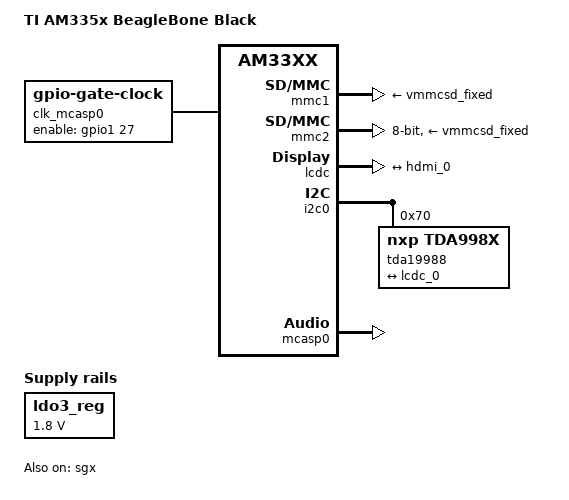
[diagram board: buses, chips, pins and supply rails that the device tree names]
/*
 * Copyright (C) 2012 Texas Instruments Incorporated - http://www.ti.com/
 *
 * This program is free software; you can redistribute it and/or modify
 * it under the terms of the GNU General Public License version 2 as
 * published by the Free Software Foundation.
 */
/dts-v1/;

#include "am33xx.dtsi"
#include "am335x-bone-common.dtsi"
#include <dt-bindings/display/tda998x.h>

/ {
	model = "TI AM335x BeagleBone Black";
	compatible = "ti,am335x-bone-black", "ti,am335x-bone", "ti,am33xx";
};

&ldo3_reg {
	regulator-min-microvolt = <1800000>;
	regulator-max-microvolt = <1800000>;
	regulator-always-on;
};

&mmc1 {
	vmmc-supply = <&vmmcsd_fixed>;
};

&mmc2 {
	vmmc-supply = <&vmmcsd_fixed>;
	pinctrl-names = "default";
	pinctrl-0 = <&emmc_pins>;
	bus-width = <8>;
	status = "okay";
};

&cpu0_opp_table {
	/*
	 * All PG 2.0 silicon may not support 1GHz but some of the early
	 * BeagleBone Blacks have PG 2.0 silicon which is guaranteed
	 * to support 1GHz OPP so enable it for PG 2.0 on this board.
	 */
	oppnitro@1000000000 {
		opp-supported-hw = <0x06 0x0100>;
	};
};

&am33xx_pinmux {
	nxp_hdmi_bonelt_pins: nxp_hdmi_bonelt_pins {
		pinctrl-single,pins = <
			0x1b0 0x03      /* xdma_event_intr0, OMAP_MUX_MODE3 | AM33XX_PIN_OUTPUT */
			0xa0 0x08       /* lcd_data0.lcd_data0, OMAP_MUX_MODE0 | AM33XX_PIN_OUTPUT | AM33XX_PULL_DISA */
			0xa4 0x08       /* lcd_data1.lcd_data1, OMAP_MUX_MODE0 | AM33XX_PIN_OUTPUT | AM33XX_PULL_DISA */
			0xa8 0x08       /* lcd_data2.lcd_data2, OMAP_MUX_MODE0 | AM33XX_PIN_OUTPUT | AM33XX_PULL_DISA */
			0xac 0x08       /* lcd_data3.lcd_data3, OMAP_MUX_MODE0 | AM33XX_PIN_OUTPUT | AM33XX_PULL_DISA */
			0xb0 0x08       /* lcd_data4.lcd_data4, OMAP_MUX_MODE0 | AM33XX_PIN_OUTPUT | AM33XX_PULL_DISA */
			0xb4 0x08       /* lcd_data5.lcd_data5, OMAP_MUX_MODE0 | AM33XX_PIN_OUTPUT | AM33XX_PULL_DISA */
			0xb8 0x08       /* lcd_data6.lcd_data6, OMAP_MUX_MODE0 | AM33XX_PIN_OUTPUT | AM33XX_PULL_DISA */
			0xbc 0x08       /* lcd_data7.lcd_data7, OMAP_MUX_MODE0 | AM33XX_PIN_OUTPUT | AM33XX_PULL_DISA */
			0xc0 0x08       /* lcd_data8.lcd_data8, OMAP_MUX_MODE0 | AM33XX_PIN_OUTPUT | AM33XX_PULL_DISA */
			0xc4 0x08       /* lcd_data9.lcd_data9, OMAP_MUX_MODE0 | AM33XX_PIN_OUTPUT | AM33XX_PULL_DISA */
			0xc8 0x08       /* lcd_data10.lcd_data10, OMAP_MUX_MODE0 | AM33XX_PIN_OUTPUT | AM33XX_PULL_DISA */
			0xcc 0x08       /* lcd_data11.lcd_data11, OMAP_MUX_MODE0 | AM33XX_PIN_OUTPUT | AM33XX_PULL_DISA */
			0xd0 0x08       /* lcd_data12.lcd_data12, OMAP_MUX_MODE0 | AM33XX_PIN_OUTPUT | AM33XX_PULL_DISA */
			0xd4 0x08       /* lcd_data13.lcd_data13, OMAP_MUX_MODE0 | AM33XX_PIN_OUTPUT | AM33XX_PULL_DISA */
			0xd8 0x08       /* lcd_data14.lcd_data14, OMAP_MUX_MODE0 | AM33XX_PIN_OUTPUT | AM33XX_PULL_DISA */
			0xdc 0x08       /* lcd_data15.lcd_data15, OMAP_MUX_MODE0 | AM33XX_PIN_OUTPUT | AM33XX_PULL_DISA */
			0xe0 0x00       /* lcd_vsync.lcd_vsync, OMAP_MUX_MODE0 | AM33XX_PIN_OUTPUT */
			0xe4 0x00       /* lcd_hsync.lcd_hsync, OMAP_MUX_MODE0 | AM33XX_PIN_OUTPUT */
			0xe8 0x00       /* lcd_pclk.lcd_pclk, OMAP_MUX_MODE0 | AM33XX_PIN_OUTPUT */
			0xec 0x00       /* lcd_ac_bias_en.lcd_ac_bias_en, OMAP_MUX_MODE0 | AM33XX_PIN_OUTPUT */
		>;
	};
	nxp_hdmi_bonelt_off_pins: nxp_hdmi_bonelt_off_pins {
		pinctrl-single,pins = <
			0x1b0 0x03      /* xdma_event_intr0, OMAP_MUX_MODE3 | AM33XX_PIN_OUTPUT */
		>;
	};

	mcasp0_pins: mcasp0_pins {
		pinctrl-single,pins = <
			AM33XX_IOPAD(0x9ac, PIN_INPUT_PULLUP | MUX_MODE0) /* mcasp0_ahcklx.mcasp0_ahclkx */
			AM33XX_IOPAD(0x99c, PIN_OUTPUT_PULLDOWN | MUX_MODE2) /* mcasp0_ahclkr.mcasp0_axr2*/
			AM33XX_IOPAD(0x994, PIN_OUTPUT_PULLUP | MUX_MODE0) /* mcasp0_fsx.mcasp0_fsx */
			AM33XX_IOPAD(0x990, PIN_OUTPUT_PULLDOWN | MUX_MODE0) /* mcasp0_aclkx.mcasp0_aclkx */
			AM33XX_IOPAD(0x86c, PIN_OUTPUT_PULLDOWN | MUX_MODE7) /* gpmc_a11.GPIO1_27 */
		>;
	};
};

&lcdc {
	status = "okay";

	/* If you want to get 24 bit RGB and 16 BGR mode instead of
	 * current 16 bit RGB and 24 BGR modes, set the propety
	 * below to "crossed" and uncomment the video-ports -property
	 * in tda19988 node.
	 */
	blue-and-red-wiring = "straight";

	port {
		lcdc_0: endpoint@0 {
			remote-endpoint = <&hdmi_0>;
		};
	};
};

&i2c0 {
	tda19988: tda19988 {
		compatible = "nxp,tda998x";
		reg = <0x70>;

		pinctrl-names = "default", "off";
		pinctrl-0 = <&nxp_hdmi_bonelt_pins>;
		pinctrl-1 = <&nxp_hdmi_bonelt_off_pins>;

		/* Convert 24bit BGR to RGB, e.g. cross red and blue wiring */
		/* video-ports = <0x234501>; */

		#sound-dai-cells = <0>;
		audio-ports = <	AFMT_I2S	0x03>;

		ports {
			port@0 {
				hdmi_0: endpoint@0 {
					remote-endpoint = <&lcdc_0>;
				};
			};
		};
	};
};

&rtc {
	system-power-controller;
};

&mcasp0	{
	#sound-dai-cells = <0>;
	pinctrl-names = "default";
	pinctrl-0 = <&mcasp0_pins>;
	status = "okay";
	op-mode = <0>;	/* MCASP_IIS_MODE */
	tdm-slots = <2>;
	serial-dir = <	/* 0: INACTIVE, 1: TX, 2: RX */
			0 0 1 0
		>;
	tx-num-evt = <32>;
	rx-num-evt = <32>;
};

&sgx {
	status = "okay";
};

/ {
	clk_mcasp0_fixed: clk_mcasp0_fixed {
		#clock-cells = <0>;
		compatible = "fixed-clock";
		clock-frequency = <24576000>;
	};

	clk_mcasp0: clk_mcasp0 {
		#clock-cells = <0>;
		compatible = "gpio-gate-clock";
		clocks = <&clk_mcasp0_fixed>;
		enable-gpios = <&gpio1 27 0>; /* BeagleBone Black Clk enable on GPIO1_27 */
	};

	sound {
		compatible = "simple-audio-card";
		simple-audio-card,name = "TI BeagleBone Black";
		simple-audio-card,format = "i2s";
		simple-audio-card,bitclock-master = <&dailink0_master>;
		simple-audio-card,frame-master = <&dailink0_master>;

		dailink0_master: simple-audio-card,cpu {
			sound-dai = <&mcasp0>;
			clocks = <&clk_mcasp0>;
		};

		simple-audio-card,codec {
			sound-dai = <&tda19988>;
		};
	};
};
